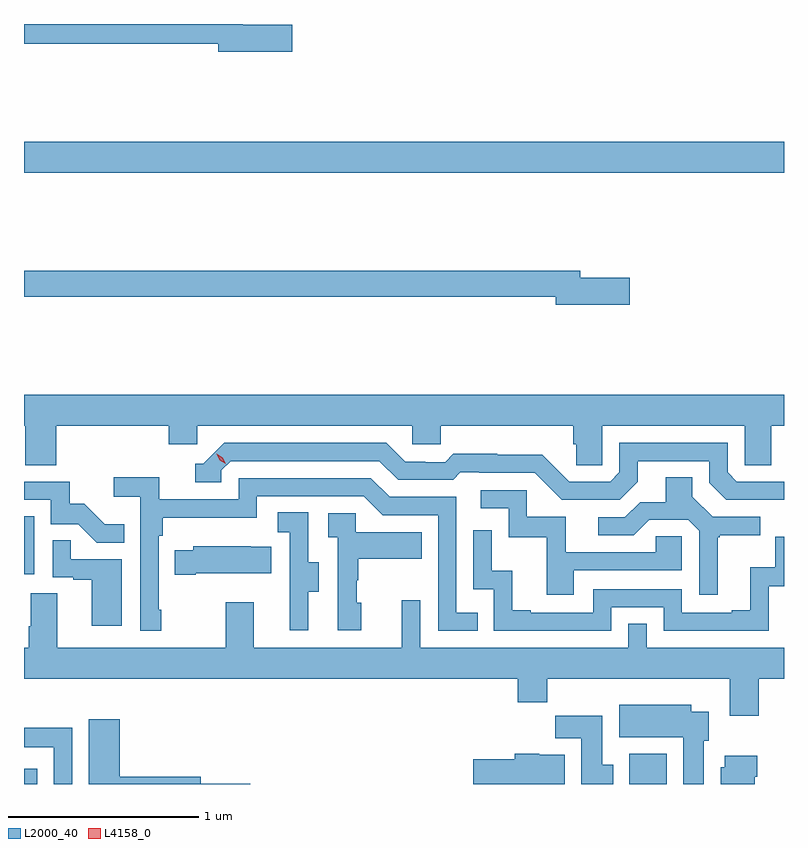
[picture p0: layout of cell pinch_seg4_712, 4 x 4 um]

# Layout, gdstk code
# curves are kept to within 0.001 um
import gdstk
lib = gdstk.Library(unit=1e-6, precision=1e-09)
def R(c, l, rs):  # rectangles x0, y0, x1, y1
    for r in rs: c.add(gdstk.rectangle(r[:2], r[2:], *l))
def P(c, l, *ps):  # polygons
    for p in ps: c.add(gdstk.Polygon(p, *l))
L2000_40 = (2000, 40)
L4158_0 = (4158, 0)

pinch_seg4_712 = lib.new_cell('pinch_seg4_712')
R(pinch_seg4_712, L2000_40, [(852.521,821.575,852.592,821.655), (855.707,821.575,855.903,821.734), (852.521,822.678,852.574,822.985), (852.521,824.792,856.521,824.956)])
P(pinch_seg4_712, L2000_40, [(853.933,825.572),(853.672,825.572),(853.672,825.575),(852.521,825.575),(852.521,825.472),(853.544,825.472),(853.544,825.43),(853.933,825.43)],
  [(855.709,824.24),(855.448,824.24),(855.448,824.276),(852.521,824.276),(852.521,824.14),(855.32,824.14),(855.32,824.098),(855.709,824.098)],
  [(852.692,823.46),(853.283,823.46),(853.283,823.362),(853.434,823.362),(853.434,823.46),(854.565,823.46),(854.565,823.362),(854.715,823.362),(854.715,823.46),(855.413,823.46),(855.413,823.362),(855.427,823.362),(855.427,823.252),(855.564,823.252),(855.564,823.46),(856.314,823.46),(856.314,823.252),(856.453,823.252),(856.453,823.46),(856.521,823.46),(856.521,823.624),(852.521,823.624),(852.521,823.46),(852.527,823.46),(852.527,823.252),(852.692,823.252)],
  [(856.521,823.167),(856.272,823.167),(856.224,823.215),(856.224,823.371),(855.654,823.371),(855.654,823.215),(855.606,823.167),(855.39,823.167),(855.248,823.309),(855.012,823.309),(855.012,823.312),(854.779,823.312),(854.737,823.269),(854.634,823.269),(854.634,823.272),(854.527,823.272),(854.428,823.371),(853.575,823.371),(853.464,823.26),(853.421,823.26),(853.421,823.164),(853.56,823.164),(853.56,823.227),(853.608,823.275),(854.391,823.275),(854.49,823.176),(854.779,823.176),(854.818,823.215),(854.917,823.215),(854.917,823.212),(855.21,823.212),(855.351,823.071),(855.657,823.071),(855.751,823.165),(855.751,823.275),(856.128,823.275),(856.128,823.161),(856.218,823.071),(856.521,823.07)],
  [(853.243,822.493),(853.23,822.493),(853.23,822.881),(853.25,822.881),(853.25,822.977),(853.746,822.977),(853.746,823.089),(854.31,823.089),(854.409,822.99),(854.7,822.99),(854.7,822.381),(854.909,822.381),(854.909,822.477),(854.796,822.477),(854.796,823.086),(854.446,823.086),(854.347,823.185),(853.65,823.185),(853.65,823.074),(853.232,823.074),(853.232,823.19),(852.993,823.19),(852.993,823.088),(853.134,823.088),(853.134,822.381),(853.243,822.381)],
  [(856.171,822.873),(856.183,822.873),(856.183,822.884),(856.396,822.884),(856.396,822.981),(856.146,822.981),(856.039,823.088),(856.039,823.19),(855.899,823.19),(855.899,823.058),(855.764,823.058),(855.684,822.978),(855.543,822.978),(855.543,822.885),(855.73,822.885),(855.811,822.966),(856.017,822.966),(856.074,822.909),(856.074,822.57),(856.171,822.57)],
  [(853.049,822.943),(852.945,822.943),(852.838,823.05),(852.762,823.05),(852.762,823.167),(852.521,823.167),(852.521,823.071),(852.663,823.071),(852.663,822.942),(852.807,822.942),(852.905,822.844),(853.049,822.844)],
  [(855.415,822.699),(855.984,822.699),(855.984,822.879),(855.847,822.879),(855.847,822.795),(855.373,822.795),(855.373,822.981),(855.168,822.981),(855.168,823.122),(854.925,823.122),(854.925,823.026),(855.072,823.026),(855.072,822.873),(855.271,822.873),(855.271,822.57),(855.415,822.57)],
  [(854.017,822.586),(854.071,822.586),(854.071,822.741),(854.016,822.741),(854.016,823.004),(853.857,823.004),(853.857,822.901),(853.92,822.901),(853.92,822.597),(853.919,822.597),(853.919,822.384),(854.017,822.384)],
  [(854.296,822.528),(854.271,822.528),(854.271,822.647),(854.281,822.647),(854.281,822.761),(854.615,822.761),(854.615,822.901),(854.268,822.901),(854.268,822.999),(854.121,822.999),(854.121,822.875),(854.172,822.875),(854.172,822.384),(854.296,822.384)],
  [(855.612,822.504),(855.888,822.504),(855.888,822.381),(856.44,822.381),(856.44,822.617),(856.521,822.617),(856.521,822.876),(856.476,822.876),(856.476,822.715),(856.343,822.715),(856.343,822.49),(856.247,822.49),(856.247,822.477),(855.984,822.477),(855.984,822.6),(855.516,822.6),(855.516,822.477),(855.187,822.477),(855.187,822.49),(855.092,822.49),(855.092,822.698),(854.982,822.698),(854.982,822.91),(854.886,822.91),(854.886,822.6),(854.994,822.6),(854.994,822.381),(855.612,822.381)],
  [(853.036,822.759),(852.767,822.759),(852.767,822.857),(852.672,822.857),(852.672,822.663),(852.779,822.663),(852.779,822.651),(852.878,822.651),(852.878,822.408),(853.036,822.408)],
  [(853.426,822.683),(853.823,822.683),(853.823,822.823),(853.715,822.823),(853.715,822.826),(853.413,822.826),(853.413,822.805),(853.315,822.805),(853.315,822.676),(853.426,822.676)],
  [(856.388,822.128),(856.521,822.128),(856.521,822.292),(855.798,822.292),(855.798,822.419),(855.702,822.419),(855.702,822.292),(854.607,822.292),(854.607,822.541),(854.51,822.541),(854.51,822.292),(853.729,822.292),(853.729,822.532),(853.582,822.532),(853.582,822.292),(852.697,822.292),(852.697,822.578),(852.557,822.578),(852.557,822.404),(852.545,822.404),(852.545,822.292),(852.521,822.292),(852.521,822.128),(855.119,822.128),(855.119,822.004),(855.275,822.004),(855.275,822.128),(856.235,822.128),(856.235,821.934),(856.388,821.934)],
  [(856.099,821.802),(856.126,821.802),(856.126,821.956),(856.033,821.956),(856.033,821.992),(855.653,821.992),(855.653,821.822),(855.992,821.822),(855.992,821.575),(856.099,821.575)],
  [(855.622,821.676),(855.565,821.676),(855.565,821.934),(855.316,821.934),(855.316,821.816),(855.455,821.816),(855.455,821.575),(855.622,821.575)],
  [(853.711,821.576),(853.45,821.576),(853.45,821.612),(853.024,821.612),(853.024,821.917),(852.863,821.917),(852.863,821.575),(853.711,821.575)],
  [(852.774,821.87),(852.521,821.87),(852.521,821.769),(852.678,821.769),(852.678,821.575),(852.774,821.575)],
  [(855.367,821.728),(855.234,821.728),(855.234,821.734),(855.104,821.734),(855.104,821.706),(854.886,821.706),(854.886,821.575),(855.367,821.575)],
  [(856.366,821.612),(856.379,821.612),(856.379,821.725),(856.208,821.725),(856.208,821.664),(856.187,821.664),(856.187,821.575),(856.366,821.575)])
P(pinch_seg4_712, L4158_0, [(853.582,823.26),(853.552,823.279),(853.536,823.312),(853.536,823.312),(853.536,823.312),(853.567,823.293),(853.583,823.26),(853.583,823.26)])

lib.write_gds('pinch_seg4_712.gds')
